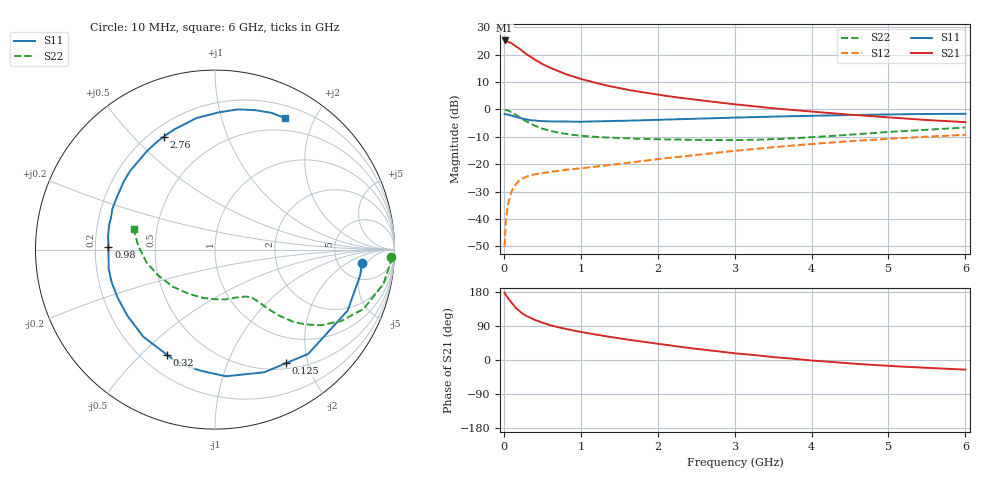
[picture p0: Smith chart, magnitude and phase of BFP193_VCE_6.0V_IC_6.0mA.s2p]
! Infineon Technologies  Discrete & RF Semiconductors
! BFP193
! VCE = 6.0 V,  IC =  6.0 mA
! Common Emitter S-Parameters:  Jan 2016
# GHz  S  MA  R  50
!  f  S11  S21  S12  S22
! GHz  MAG  ANG  MAG  ANG  MAG  ANG  MAG  ANG
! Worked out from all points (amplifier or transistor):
!   210 points, 10 MHz to 6 GHz, reference 50 ohm
!   highest |S21| = 25.1 dB at 10 MHz (marker M1)
!   |S21| within 3 dB of that: start of sweep to 202.2 MHz
!   unconditionally stable (mu >= 1): 1.227 GHz to 3.515 GHz
!   at 185 MHz: K = 0.23, MSG = 24.4 dB, |S12| = -26.4 dB
!   at 1.52 GHz: K = 1.08, MAG = 12.0 dB, |S12| = -19.8 dB
!   at 6 GHz: K = 0.89, MSG = 2.3 dB, |S12| = -9.3 dB
!   S11 on the Smith chart (normalised r, x): 10 MHz: 8.37, -3.91; 125 MHz: 0.58, -1.66; 320 MHz: 0.30, -0.60; 980 MHz: 0.25, +0.01; 2.76 GHz: 0.26, +0.62; 6 GHz: 0.34, +1.61
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0.01  0.8217 -5.3  18.06 177.6  0.0032 85.4  0.984 -2.3
0.02  0.8216 -10.0  17.57 173.3  0.0067 88.0  0.9785 -4.7
0.05  0.8133 -24.7  17.29 164.6  0.0168 78.3  0.9577 -11.5
0.1  0.7793 -48.2  16.12 151.0  0.0318 67.0  0.892 -21.7
0.125  0.7465 -57.9  15.14 145.2  0.0368 61.8  0.8479 -25.4
0.15  0.7365 -68.1  14.33 138.6  0.042 57.9  0.8077 -29.5
0.2  0.7085 -85.1  12.86 129.4  0.0503 51.2  0.7272 -35.4
0.26  0.6703 -101.9  11.04 120.2  0.0562 45.4  0.6404 -40.2
0.32  0.6441 -114.6  9.632 113.7  0.0608 42.2  0.5778 -43.2
0.4  0.6286 -129.5  8.137 105.9  0.0655 38.7  0.5057 -46.1
0.5  0.6116 -142.8  6.724 98.2  0.0685 36.6  0.4454 -48.0
0.6  0.6051 -153.8  5.749 92.1  0.0725 35.7  0.406 -49.3
0.8  0.6019 -169.6  4.418 82.2  0.0786 35.5  0.3578 -51.2
0.98  0.5943 178.8  3.666 74.8  0.0836 37.2  0.333 -53.2
1.02  0.5957 176.5  3.533 73.3  0.0847 37.5  0.3288 -53.7
1.4  0.6152 158.4  2.6 60.4  0.0973 40.2  0.3053 -59.8
2.02  0.6455 136.3  1.836 42.3  0.1247 42.5  0.284 -73.3
2.76  0.6911 114.3  1.354 23.4  0.1621 41.5  0.2743 -94.9
3.1  0.7124 106.3  1.198 16.0  0.1808 39.7  0.2769 -106.4
4.1  0.769 86.9  0.888 -2.7  0.2395 32.3  0.3177 -142.3
5.1  0.8111 72.5  0.7 -16.7  0.2958 22.0  0.3944 -172.2
6  0.83 62.0  0.585 -25.5  0.3434 11.7  0.4673 165.9
